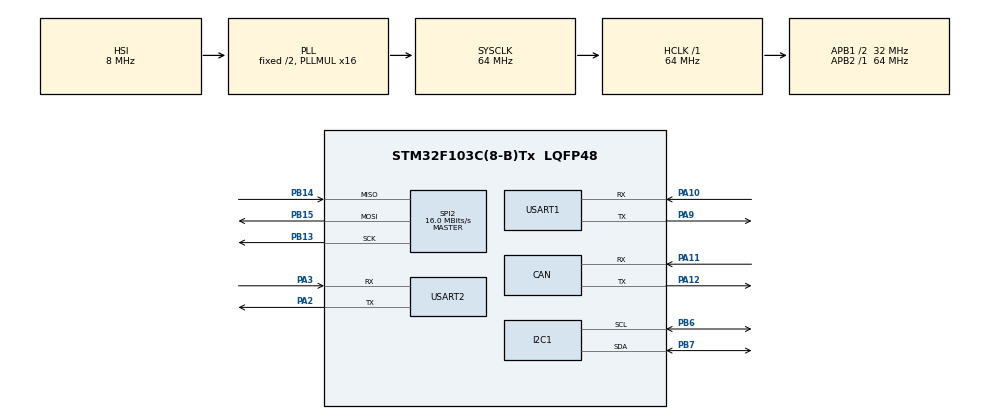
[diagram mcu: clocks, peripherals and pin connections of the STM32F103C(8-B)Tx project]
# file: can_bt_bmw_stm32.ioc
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CAN.CalculateTimeBit=1500
CAN.CalculateTimeQuantum=500.0
I2C1.DutyCycle=I2C_DUTYCYCLE_2
Mcu.Family=STM32F1
Mcu.Name=STM32F103C(8-B)Tx
Mcu.Package=LQFP48
NVIC.CAN1_RX1_IRQn=true\:0\:0\:false\:false\:true
NVIC.CAN1_SCE_IRQn=true\:0\:0\:false\:false\:true
NVIC.I2C1_ER_IRQn=true\:0\:0\:false\:true\:true\:2
NVIC.I2C1_EV_IRQn=true\:0\:0\:false\:true\:true\:1
NVIC.PriorityGroup=NVIC_PRIORITYGROUP_4
NVIC.SPI2_IRQn=true\:0\:0\:false\:false\:true
NVIC.USART1_IRQn=true\:0\:0\:false\:true\:true\:4
NVIC.USART2_IRQn=true\:0\:0\:false\:true\:true\:5
NVIC.USB_HP_CAN1_TX_IRQn=true\:0\:0\:false\:false\:true
NVIC.USB_LP_CAN1_RX0_IRQn=true\:0\:0\:false\:false\:true
PA10.Mode=Asynchronous
PA10.Signal=USART1_RX
PA11.Mode=Master
PA11.Signal=CAN_RX
PA12.Mode=Master
PA12.Signal=CAN_TX
PA2.Mode=Asynchronous
PA2.Signal=USART2_TX
PA3.Mode=Asynchronous
PA3.Signal=USART2_RX
PA9.Mode=Asynchronous
PA9.Signal=USART1_TX
PB13.Mode=Full_Duplex_Master
PB13.Signal=SPI2_SCK
PB14.Mode=Full_Duplex_Master
PB14.Signal=SPI2_MISO
PB15.Mode=Full_Duplex_Master
PB15.Signal=SPI2_MOSI
PB6.Mode=I2C
PB6.Signal=I2C1_SCL
PB7.Mode=I2C
PB7.Signal=I2C1_SDA
ProjectManager.HeapSize=0x200
ProjectManager.StackSize=0x400
ProjectManager.TargetToolchain=SW4STM32
RCC.AHBCLKDivider=RCC_SYSCLK_DIV1
RCC.AHBFreq_Value=64000000
RCC.APB1CLKDivider=RCC_HCLK_DIV2
RCC.APB1Freq_Value=32000000
RCC.APB1TimFreq_Value=64000000
RCC.APB2Freq_Value=64000000
RCC.APB2TimFreq_Value=64000000
RCC.ClockTypeHCLK=RCC_CLOCKTYPE_HCLK
RCC.ClockTypePCLK1=RCC_CLOCKTYPE_PCLK1
RCC.ClockTypePCLK2=RCC_CLOCKTYPE_PCLK2
RCC.EnableHSE=false
RCC.EnableHSERTCDevisor=false
RCC.EnableLSE=false
RCC.EnableLSERTC=false
RCC.EnableMCOMultDivisor=false
RCC.HCLKFreq_Value=64000000
RCC.HSEState=RCC_HSE_OFF
RCC.HSIState=RCC_HSI_ON
RCC.IWDGEnable=false
RCC.LSIState=RCC_LSI_OFF
RCC.MCOEnable=false
RCC.OscillatorTypeHSI=RCC_OSCILLATORTYPE_HSI
RCC.PLLMUL=RCC_PLL_MUL16
RCC.PLLSource=RCC_PLLSOURCE_HSI_DIV2
RCC.PLLSourceVirtual=RCC_PLLSOURCE_HSI_DIV2
RCC.PLLState=RCC_PLL_ON
RCC.RTCEnable=false
RCC.SYSCLKFreq_VALUE=64000000
RCC.SYSCLKSource=RCC_SYSCLKSOURCE_PLLCLK
RCC.TimSys_Div=SYSTICK_CLKSOURCE_HCLK
RCC.USBFreq_Value=64000000
RCC.VDD_VALUE=3.3
SPI2.CRCPolynomial=10
SPI2.CalculateBaudRate=16.0 MBits/s
SPI2.Direction=SPI_DIRECTION_2LINES
SPI2.Mode=SPI_MODE_MASTER
SPI2.VirtualType=VM_MASTER
USART1.HwFlowCtl-Asynchronous=UART_HWCONTROL_NONE
USART1.VirtualMode=VM_ASYNC
USART2.HwFlowCtl-Asynchronous=UART_HWCONTROL_NONE
USART2.VirtualMode=VM_ASYNC
VP_SYS_VS_ND.Mode=No_Debug
board=can_bt_bmw_stm32

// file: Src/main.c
/**
  ******************************************************************************
  * File Name          : main.c
  * Description        : Main program body
  ******************************************************************************
  *
  * COPYRIGHT(c) 2017 STMicroelectronics
  *
  * Redistribution and use in source and binary forms, with or without modification,
  * are permitted provided that the following conditions are met:
  *   1. Redistributions of source code must retain the above copyright notice,
  *      this list of conditions and the following disclaimer.
  *   2. Redistributions in binary form must reproduce the above copyright notice,
  *      this list of conditions and the following disclaimer in the documentation
  *      and/or other materials provided with the distribution.
  *   3. Neither the name of STMicroelectronics nor the names of its contributors
  *      may be used to endorse or promote products derived from this software
  *      without specific prior written permission.
  *
  * THIS SOFTWARE IS PROVIDED BY THE COPYRIGHT HOLDERS AND CONTRIBUTORS "AS IS"
  * AND ANY EXPRESS OR IMPLIED WARRANTIES, INCLUDING, BUT NOT LIMITED TO, THE
  * IMPLIED WARRANTIES OF MERCHANTABILITY AND FITNESS FOR A PARTICULAR PURPOSE ARE
  * DISCLAIMED. IN NO EVENT SHALL THE COPYRIGHT HOLDER OR CONTRIBUTORS BE LIABLE
  * FOR ANY DIRECT, INDIRECT, INCIDENTAL, SPECIAL, EXEMPLARY, OR CONSEQUENTIAL
  * DAMAGES (INCLUDING, BUT NOT LIMITED TO, PROCUREMENT OF SUBSTITUTE GOODS OR
  * SERVICES; LOSS OF USE, DATA, OR PROFITS; OR BUSINESS INTERRUPTION) HOWEVER
  * CAUSED AND ON ANY THEORY OF LIABILITY, WHETHER IN CONTRACT, STRICT LIABILITY,
  * OR TORT (INCLUDING NEGLIGENCE OR OTHERWISE) ARISING IN ANY WAY OUT OF THE USE
  * OF THIS SOFTWARE, EVEN IF ADVISED OF THE POSSIBILITY OF SUCH DAMAGE.
  *
  ******************************************************************************
  */
#include "main.h"
#include "stm32f1xx_hal.h"

CAN_HandleTypeDef hcan;

I2C_HandleTypeDef hi2c1;

SPI_HandleTypeDef hspi2;

UART_HandleTypeDef huart1;
UART_HandleTypeDef huart2;

/* USER CODE BEGIN PV */
/* Private variables ---------------------------------------------------------*/

uint8_t transmitBuffer[32];
uint8_t receiveBuffer[32];

/* USER CODE END PV */

void SystemClock_Config(void);
void Error_Handler(void);
static void MX_GPIO_Init(void);
static void MX_I2C1_Init(void);
static void MX_USART1_UART_Init(void);
static void MX_USART2_UART_Init(void);
static void MX_SPI2_Init(void);
static void MX_CAN_Init(void);
static void MX_NVIC_Init(void);

/* USER CODE BEGIN PFP */
/* Private function prototypes -----------------------------------------------*/
void LOG(char* pData, int length);
void rawMouseCommand(uint8_t btns, uint8_t x, uint8_t y);
void rawKeyCommand(uint8_t modifiers, uint8_t key1, uint8_t key2, uint8_t key3, uint8_t key4, uint8_t key5, uint8_t key6);
void rawConsumerCommand(uint8_t mask0, uint8_t mask1);
void sleep(uint32_t time);

/* USER CODE END PFP */

int main(void)
{

  /* MCU Configuration----------------------------------------------------------*/

  /* Reset of all peripherals, Initializes the Flash interface and the Systick. */
  HAL_Init();

  /* Configure the system clock */
  SystemClock_Config();

  /* Initialize all configured peripherals */
  MX_GPIO_Init();
  MX_I2C1_Init();
  MX_USART1_UART_Init();
  MX_USART2_UART_Init();
  MX_SPI2_Init();
  MX_CAN_Init();

  /* Initialize interrupts */
  MX_NVIC_Init();

  /* USER CODE BEGIN 2 */

  //Init UART2 interrupt driven RX for keyboard input
  LOG("\033[2J", 5);
  LOG("\033[H", 4);
  LOG("Starting system...OK\r\n", 22);
  LOG("Initializing UART1\r\n", 22);
  LOG("Initializing UART2\r\n", 22);
  HAL_UART_Receive_IT(&huart1, receiveBuffer, 32);

  //Init CAN bus and conversion system here
  LOG("Initializing CAN bus\r\n", 22);

//  if(HAL_CAN_Receive_IT(&hcan, CAN_FIFO0) != HAL_OK) {
//	  //Handle errors, Reception error
//	  LOG("No CAN data received\r\n", 22);
//  } else {
//	  //Process CAN info
//	  LOG("CAN data received\r\n", 19);
//  }

  LOG("Initializing Bluetooth HID device\r\n", 35);

  /* USER CODE END 2 */

  /* Infinite loop */
  while (1)
  {

  /* USER CODE BEGIN 3 */
	  //the code below currently spams the bluetooth module and transmits way too
	  //fast, have to find a way to slow it down, delay doesn't work
//	  LOG("Right\r\n", 7);
//	  rawMouseCommand(0, -100, 0);
//	  sleep(10000000);
////	  LOG("Down\r\n", 6);
//	  rawMouseCommand(0, 0, -100);
//	  sleep(10000000);
////	  LOG("Left\r\n", 6);
//	  rawMouseCommand(0, 100, 0);
//	  sleep(10000000);
////	  LOG("Up\r\n", 4);
//	  rawMouseCommand(0, 0, 100);
//	  sleep(10000000);
  }
  /* USER CODE END 3 */

}

/** System Clock Configuration
*/
void SystemClock_Config(void)
{

  RCC_OscInitTypeDef RCC_OscInitStruct;
  RCC_ClkInitTypeDef RCC_ClkInitStruct;

    /**Initializes the CPU, AHB and APB busses clocks
    */
  RCC_OscInitStruct.OscillatorType = RCC_OSCILLATORTYPE_HSI;
  RCC_OscInitStruct.HSIState = RCC_HSI_ON;
  RCC_OscInitStruct.HSICalibrationValue = 16;
  RCC_OscInitStruct.PLL.PLLState = RCC_PLL_ON;
  RCC_OscInitStruct.PLL.PLLSource = RCC_PLLSOURCE_HSI_DIV2;
  RCC_OscInitStruct.PLL.PLLMUL = RCC_PLL_MUL16;
  if (HAL_RCC_OscConfig(&RCC_OscInitStruct) != HAL_OK)
  {
    Error_Handler();
  }

    /**Initializes the CPU, AHB and APB busses clocks
    */
  RCC_ClkInitStruct.ClockType = RCC_CLOCKTYPE_HCLK|RCC_CLOCKTYPE_SYSCLK
                              |RCC_CLOCKTYPE_PCLK1|RCC_CLOCKTYPE_PCLK2;
  RCC_ClkInitStruct.SYSCLKSource = RCC_SYSCLKSOURCE_PLLCLK;
  RCC_ClkInitStruct.AHBCLKDivider = RCC_SYSCLK_DIV1;
  RCC_ClkInitStruct.APB1CLKDivider = RCC_HCLK_DIV2;
  RCC_ClkInitStruct.APB2CLKDivider = RCC_HCLK_DIV1;

  if (HAL_RCC_ClockConfig(&RCC_ClkInitStruct, FLASH_LATENCY_2) != HAL_OK)
  {
    Error_Handler();
  }

    /**Configure the Systick interrupt time
    */
  HAL_SYSTICK_Config(HAL_RCC_GetHCLKFreq()/1000);

    /**Configure the Systick
    */
  HAL_SYSTICK_CLKSourceConfig(SYSTICK_CLKSOURCE_HCLK);

  /* SysTick_IRQn interrupt configuration */
  HAL_NVIC_SetPriority(SysTick_IRQn, 0, 0);
}

/** NVIC Configuration
*/
static void MX_NVIC_Init(void)
{
  /* I2C1_EV_IRQn interrupt configuration */
  HAL_NVIC_SetPriority(I2C1_EV_IRQn, 0, 0);
  HAL_NVIC_EnableIRQ(I2C1_EV_IRQn);
  /* I2C1_ER_IRQn interrupt configuration */
  HAL_NVIC_SetPriority(I2C1_ER_IRQn, 0, 0);
  HAL_NVIC_EnableIRQ(I2C1_ER_IRQn);
  /* USART1_IRQn interrupt configuration */
  HAL_NVIC_SetPriority(USART1_IRQn, 0, 0);
  HAL_NVIC_EnableIRQ(USART1_IRQn);
  /* USART2_IRQn interrupt configuration */
  HAL_NVIC_SetPriority(USART2_IRQn, 0, 0);
  HAL_NVIC_EnableIRQ(USART2_IRQn);
}

/* CAN init function */
static void MX_CAN_Init(void)
{

  hcan.Instance = CAN1;
  hcan.Init.Prescaler = 16;
  hcan.Init.Mode = CAN_MODE_NORMAL;
  hcan.Init.SJW = CAN_SJW_1TQ;
  hcan.Init.BS1 = CAN_BS1_1TQ;
  hcan.Init.BS2 = CAN_BS2_1TQ;
  hcan.Init.TTCM = DISABLE;
  hcan.Init.ABOM = DISABLE;
  hcan.Init.AWUM = DISABLE;
  hcan.Init.NART = DISABLE;
  hcan.Init.RFLM = DISABLE;
  hcan.Init.TXFP = DISABLE;
  if (HAL_CAN_Init(&hcan) != HAL_OK)
  {
    Error_Handler();
  }
  HAL_CAN_IRQHandler(&hcan);
}

/* I2C1 init function */
static void MX_I2C1_Init(void)
{

  hi2c1.Instance = I2C1;
  hi2c1.Init.ClockSpeed = 100000;
  hi2c1.Init.DutyCycle = I2C_DUTYCYCLE_2;
  hi2c1.Init.OwnAddress1 = 0;
  hi2c1.Init.AddressingMode = I2C_ADDRESSINGMODE_7BIT;
  hi2c1.Init.DualAddressMode = I2C_DUALADDRESS_DISABLE;
  hi2c1.Init.OwnAddress2 = 0;
  hi2c1.Init.GeneralCallMode = I2C_GENERALCALL_DISABLE;
  hi2c1.Init.NoStretchMode = I2C_NOSTRETCH_DISABLE;
  if (HAL_I2C_Init(&hi2c1) != HAL_OK)
  {
    Error_Handler();
  }

}

/* SPI2 init function */
static void MX_SPI2_Init(void)
{

  hspi2.Instance = SPI2;
  hspi2.Init.Mode = SPI_MODE_MASTER;
  hspi2.Init.Direction = SPI_DIRECTION_2LINES;
  hspi2.Init.DataSize = SPI_DATASIZE_8BIT;
  hspi2.Init.CLKPolarity = SPI_POLARITY_LOW;
  hspi2.Init.CLKPhase = SPI_PHASE_1EDGE;
  hspi2.Init.NSS = SPI_NSS_SOFT;
  hspi2.Init.BaudRatePrescaler = SPI_BAUDRATEPRESCALER_2;
  hspi2.Init.FirstBit = SPI_FIRSTBIT_MSB;
  hspi2.Init.TIMode = SPI_TIMODE_DISABLE;
  hspi2.Init.CRCCalculation = SPI_CRCCALCULATION_DISABLE;
  hspi2.Init.CRCPolynomial = 10;
  if (HAL_SPI_Init(&hspi2) != HAL_OK)
  {
    Error_Handler();
  }

}

/* USART1 init function */
static void MX_USART1_UART_Init(void)
{

  huart1.Instance = USART1;
  huart1.Init.BaudRate = 115200;
  huart1.Init.WordLength = UART_WORDLENGTH_8B;
  huart1.Init.StopBits = UART_STOPBITS_1;
  huart1.Init.Parity = UART_PARITY_NONE;
  huart1.Init.Mode = UART_MODE_TX_RX;
  huart1.Init.HwFlowCtl = UART_HWCONTROL_NONE;
  huart1.Init.OverSampling = UART_OVERSAMPLING_16;
  if (HAL_UART_Init(&huart1) != HAL_OK)
  {
    Error_Handler();
  }
  HAL_UART_IRQHandler(&huart1);
}

/* USART2 init function */
static void MX_USART2_UART_Init(void)
{

  huart2.Instance = USART2;
  huart2.Init.BaudRate = 115200;
  huart2.Init.WordLength = UART_WORDLENGTH_8B;
  huart2.Init.StopBits = UART_STOPBITS_1;
  huart2.Init.Parity = UART_PARITY_NONE;
  huart2.Init.Mode = UART_MODE_TX_RX;
  huart2.Init.HwFlowCtl = UART_HWCONTROL_NONE;
  huart2.Init.OverSampling = UART_OVERSAMPLING_16;
  if (HAL_UART_Init(&huart2) != HAL_OK)
  {
    Error_Handler();
  }
  HAL_UART_IRQHandler(&huart2);
}

/** Pinout Configuration
*/
static void MX_GPIO_Init(void)
{

  /* GPIO Ports Clock Enable */
  __HAL_RCC_GPIOA_CLK_ENABLE();
  __HAL_RCC_GPIOB_CLK_ENABLE();

}

/* USER CODE BEGIN 4 */

/*
 * Logging system, will write logs to UART1, console
 */
void LOG(char* pData, int length){
	HAL_UART_Transmit_IT(&huart1, pData, length);
	while (HAL_UART_GetState(&huart1) != HAL_UART_STATE_READY){}
}

void HAL_UART_RxCpltCallback(UART_HandleTypeDef* huart){
	uint16_t uartDATA[16];
	HAL_UART_Transmit(&huart1, "test", 4, 30);
	if(HAL_UART_Receive_IT(&huart1, receiveBuffer, 32) != HAL_OK) {
		//Handle errors
		LOG("No UART data received\r\n", 23);
	} else {
		//Process UART info
		LOG("UART data received\r\n", 20);
		LOG(uartDATA, 16);
	}

}

void HAL_CAN_RxCpltCallback(CAN_HandleTypeDef* hcan){
	uint8_t canDATA[8];
	HAL_CAN_Receive_IT(&hcan, canDATA);
	LOG(canDATA, 8);
}

void rawMouseCommand(uint8_t btns, uint8_t x, uint8_t y) {
	HAL_UART_Transmit(&huart2, 0xFD, sizeof(uint8_t), 30);
//	while (HAL_UART_GetState(&huart2) != HAL_UART_STATE_READY){}
	HAL_UART_Transmit(&huart2, 0x00, sizeof(uint8_t), 30);
//	while (HAL_UART_GetState(&huart2) != HAL_UART_STATE_READY){}
	HAL_UART_Transmit(&huart2, 0x03, sizeof(uint8_t), 30);
//	while (HAL_UART_GetState(&huart2) != HAL_UART_STATE_READY){}
	HAL_UART_Transmit(&huart2, btns, sizeof(uint8_t), 30);
//	while (HAL_UART_GetState(&huart2) != HAL_UART_STATE_READY){}
	HAL_UART_Transmit(&huart2, x, sizeof(uint8_t), 30);
//	while (HAL_UART_GetState(&huart2) != HAL_UART_STATE_READY){}
	HAL_UART_Transmit(&huart2, y, sizeof(uint8_t), 30);
//	while (HAL_UART_GetState(&huart2) != HAL_UART_STATE_READY){}
	HAL_UART_Transmit(&huart2, 0x00, sizeof(uint8_t), 30);
//	while (HAL_UART_GetState(&huart2) != HAL_UART_STATE_READY){}
	HAL_UART_Transmit(&huart2, 0x00, sizeof(uint8_t), 30);
//	while (HAL_UART_GetState(&huart2) != HAL_UART_STATE_READY){}
	HAL_UART_Transmit(&huart2, 0x00, sizeof(uint8_t), 30);
//	while (HAL_UART_GetState(&huart2) != HAL_UART_STATE_READY){}
}

void rawKeyCommand(uint8_t modifiers, uint8_t key1, uint8_t key2, uint8_t key3, uint8_t key4, uint8_t key5, uint8_t key6) {
	//for keys not used, set them to 0 when calling
	HAL_UART_Transmit_IT(&huart2, 0xFD, sizeof(uint8_t));
	while (HAL_UART_GetState(&huart2) != HAL_UART_STATE_READY);
	HAL_UART_Transmit_IT(&huart2, modifiers, sizeof(uint8_t));
	while (HAL_UART_GetState(&huart2) != HAL_UART_STATE_READY);
	HAL_UART_Transmit_IT(&huart2, 0x00, sizeof(uint8_t));
	while (HAL_UART_GetState(&huart2) != HAL_UART_STATE_READY);
	HAL_UART_Transmit_IT(&huart2, key1, sizeof(uint8_t));
	while (HAL_UART_GetState(&huart2) != HAL_UART_STATE_READY);
	HAL_UART_Transmit_IT(&huart2, key2, sizeof(uint8_t));
	while (HAL_UART_GetState(&huart2) != HAL_UART_STATE_READY);
	HAL_UART_Transmit_IT(&huart2, key3, sizeof(uint8_t));
	while (HAL_UART_GetState(&huart2) != HAL_UART_STATE_READY);
	HAL_UART_Transmit_IT(&huart2, key4, sizeof(uint8_t));
	while (HAL_UART_GetState(&huart2) != HAL_UART_STATE_READY);
	HAL_UART_Transmit_IT(&huart2, key5, sizeof(uint8_t));
	while (HAL_UART_GetState(&huart2) != HAL_UART_STATE_READY);
	HAL_UART_Transmit_IT(&huart2, key6, sizeof(uint8_t));
	while (HAL_UART_GetState(&huart2) != HAL_UART_STATE_READY);
}

void rawConsumerCommand(uint8_t mask0, uint8_t mask1){
	HAL_UART_Transmit_IT(&huart2, 0xFD, sizeof(uint8_t));
	while (HAL_UART_GetState(&huart2) != HAL_UART_STATE_READY);
	HAL_UART_Transmit_IT(&huart2, 0x00, sizeof(uint8_t));
	while (HAL_UART_GetState(&huart2) != HAL_UART_STATE_READY);
	HAL_UART_Transmit_IT(&huart2, 0x02, sizeof(uint8_t));
	while (HAL_UART_GetState(&huart2) != HAL_UART_STATE_READY);
	HAL_UART_Transmit_IT(&huart2, mask0, sizeof(uint8_t));
	while (HAL_UART_GetState(&huart2) != HAL_UART_STATE_READY);
	HAL_UART_Transmit_IT(&huart2, mask1, sizeof(uint8_t));
	while (HAL_UART_GetState(&huart2) != HAL_UART_STATE_READY);
	HAL_UART_Transmit_IT(&huart2, 0x00, sizeof(uint8_t));
	while (HAL_UART_GetState(&huart2) != HAL_UART_STATE_READY);
	HAL_UART_Transmit_IT(&huart2, 0x00, sizeof(uint8_t));
	while (HAL_UART_GetState(&huart2) != HAL_UART_STATE_READY);
	HAL_UART_Transmit_IT(&huart2, 0x00, sizeof(uint8_t));
	while (HAL_UART_GetState(&huart2) != HAL_UART_STATE_READY);
	HAL_UART_Transmit_IT(&huart2, 0x00, sizeof(uint8_t));
	while (HAL_UART_GetState(&huart2) != HAL_UART_STATE_READY);
}

void sleep(uint32_t time){
	time*=72000000;
	while(time--);
}

/* USER CODE END 4 */

void Error_Handler(void)
{
  while(1)
  {
  }
}

/************************ (C) COPYRIGHT STMicroelectronics *****END OF FILE****/
